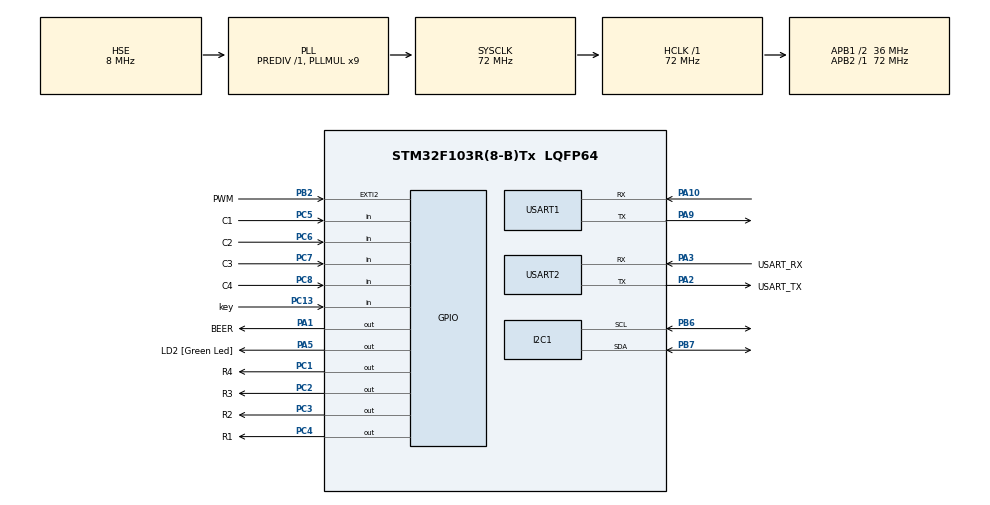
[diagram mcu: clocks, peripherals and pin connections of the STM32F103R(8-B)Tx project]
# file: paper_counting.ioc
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Mcu.Family=STM32F1
Mcu.Name=STM32F103R(8-B)Tx
Mcu.Package=LQFP64
NVIC.EXTI2_IRQn=true\:0\:0\:false\:false\:true\:true\:true
NVIC.PriorityGroup=NVIC_PRIORITYGROUP_4
NVIC.TIM1_BRK_IRQn=true\:0\:0\:false\:false\:true\:true\:true
NVIC.TIM1_CC_IRQn=true\:0\:0\:false\:false\:true\:true\:true
NVIC.TIM1_TRG_COM_IRQn=true\:0\:0\:false\:false\:true\:true\:true
NVIC.TIM1_UP_IRQn=true\:0\:0\:false\:false\:true\:true\:true
NVIC.TIM3_IRQn=true\:0\:0\:false\:false\:true\:true\:true
PA1.GPIO_Label=BEER
PA1.GPIO_PuPd=GPIO_PULLDOWN
PA1.Signal=GPIO_Output
PA10.Mode=Asynchronous
PA10.Signal=USART1_RX
PA13.GPIO_Label=TMS
PA13.Mode=Serial_Wire
PA13.Signal=SYS_JTMS-SWDIO
PA14.GPIO_Label=TCK
PA14.Mode=Serial_Wire
PA14.Signal=SYS_JTCK-SWCLK
PA2.GPIO_Label=USART_TX
PA2.GPIO_Mode=GPIO_MODE_AF_PP
PA2.GPIO_PuPd=GPIO_NOPULL
PA2.GPIO_Speed=GPIO_SPEED_FREQ_LOW
PA2.Mode=Asynchronous
PA2.Signal=USART2_TX
PA3.GPIO_Label=USART_RX
PA3.GPIO_Mode=GPIO_MODE_AF_PP
PA3.GPIO_PuPd=GPIO_NOPULL
PA3.GPIO_Speed=GPIO_SPEED_FREQ_LOW
PA3.Mode=Asynchronous
PA3.Signal=USART2_RX
PA5.GPIO_Label=LD2 [Green Led]
PA5.GPIO_ModeDefaultOutputPP=GPIO_MODE_OUTPUT_PP
PA5.GPIO_PuPd=GPIO_NOPULL
PA5.GPIO_Speed=GPIO_SPEED_FREQ_LOW
PA5.Signal=GPIO_Output
PA9.Mode=Asynchronous
PA9.Signal=USART1_TX
PB2.GPIO_Label=PWM
PB2.GPIO_ModeDefaultEXTI=GPIO_MODE_IT_RISING
PB2.GPIO_PuPd=GPIO_PULLDOWN
PB2.Signal=GPXTI2
PB3.GPIO_Label=SWO
PB3.Signal=SYS_JTDO-TRACESWO
PB6.Mode=I2C
PB6.Signal=I2C1_SCL
PB7.Mode=I2C
PB7.Signal=I2C1_SDA
PC1.GPIO_Label=R4
PC1.GPIO_PuPd=GPIO_PULLUP
PC1.Signal=GPIO_Output
PC13-TAMPER-RTC.GPIO_Label=key
PC13-TAMPER-RTC.GPIO_PuPd=GPIO_PULLUP
PC13-TAMPER-RTC.Signal=GPIO_Input
PC14-OSC32_IN.Signal=RCC_OSC32_IN
PC15-OSC32_OUT.Signal=RCC_OSC32_OUT
PC2.GPIO_Label=R3
PC2.GPIO_PuPd=GPIO_PULLUP
PC2.Signal=GPIO_Output
PC3.GPIO_Label=R2
PC3.GPIO_PuPd=GPIO_PULLUP
PC3.Signal=GPIO_Output
PC4.GPIO_Label=R1
PC4.GPIO_PuPd=GPIO_PULLUP
PC4.Signal=GPIO_Output
PC5.GPIO_Label=C1
PC5.GPIO_PuPd=GPIO_PULLDOWN
PC5.Signal=GPIO_Input
PC6.GPIO_Label=C2
PC6.GPIO_PuPd=GPIO_PULLDOWN
PC6.Signal=GPIO_Input
PC7.GPIO_Label=C3
PC7.GPIO_PuPd=GPIO_PULLDOWN
PC7.Signal=GPIO_Input
PC8.GPIO_Label=C4
PC8.GPIO_PuPd=GPIO_PULLDOWN
PC8.Signal=GPIO_Input
PD0-OSC_IN.Mode=HSE-External-Oscillator
PD0-OSC_IN.Signal=RCC_OSC_IN
PD1-OSC_OUT.Mode=HSE-External-Oscillator
PD1-OSC_OUT.Signal=RCC_OSC_OUT
ProjectManager.HeapSize=0x200
ProjectManager.StackSize=0x400
ProjectManager.TargetToolchain=MDK-ARM V5
RCC.AHBFreq_Value=72000000
RCC.APB1CLKDivider=RCC_HCLK_DIV2
RCC.APB1Freq_Value=36000000
RCC.APB1TimFreq_Value=72000000
RCC.APB2Freq_Value=72000000
RCC.APB2TimFreq_Value=72000000
RCC.HCLKFreq_Value=72000000
RCC.PLLMUL=RCC_PLL_MUL9
RCC.PLLSourceVirtual=RCC_PLLSOURCE_HSE
RCC.RTCClockSelection=RCC_RTCCLKSOURCE_LSE
RCC.SYSCLKFreq_VALUE=72000000
RCC.SYSCLKSource=RCC_SYSCLKSOURCE_PLLCLK
RCC.USBFreq_Value=72000000
TIM1.Period=1000
TIM1.Prescaler=71
TIM3.Period=10000
TIM3.Prescaler=71
USART1.VirtualMode=VM_ASYNC
USART2.VirtualMode=VM_ASYNC
VP_TIM1_VS_ClockSourceINT.Mode=Internal
VP_TIM3_VS_ClockSourceINT.Mode=Internal
board=NUCLEO-F103RB

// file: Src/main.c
/* USER CODE BEGIN Header */
/**
  ******************************************************************************
  * @file           : main.c
  * @brief          : Main program body
  ******************************************************************************
  * @attention
  *
  * <h2><center>&copy; Copyright (c) 2020 STMicroelectronics.
  * All rights reserved.</center></h2>
  *
  * This software component is licensed by ST under BSD 3-Clause license,
  * the "License"; You may not use this file except in compliance with the
  * License. You may obtain a copy of the License at:
  *                        opensource.org/licenses/BSD-3-Clause
  *
  ******************************************************************************
  */
/* USER CODE END Header */

#include "main.h"
#include "i2c.h"
#include "tim.h"
#include "usart.h"
#include "gpio.h"

/* USER CODE BEGIN Includes */
#include "stdio.h"
#include "OLED_I2C.h"
#include "keyboard.h"
#include "calibrate.h"
#include "show.h"
/* USER CODE END Includes */

void SystemClock_Config(void);
static void MX_NVIC_Init(void);
/* USER CODE BEGIN PFP */
volatile unsigned int count;
volatile unsigned int pwm_value;
int state = 0;
/* USER CODE END PFP */

/* USER CODE BEGIN 0 */
int fputc(int ch, FILE *f)
{
    uint8_t temp[1] = {ch};
    HAL_UART_Transmit(&huart1, temp, 1, 2);
}
/* USER CODE END 0 */

int main(void)
{

  /* MCU Configuration--------------------------------------------------------*/

  /* Reset of all peripherals, Initializes the Flash interface and the Systick. */
  HAL_Init();

  /* Configure the system clock */
  SystemClock_Config();

  /* Initialize all configured peripherals */
  MX_GPIO_Init();
  MX_USART2_UART_Init();
  MX_I2C1_Init();
	HAL_I2C_MspInit(&hi2c1);//手动添加

  MX_TIM1_Init();
  MX_TIM3_Init();
  MX_USART1_UART_Init();
  /* USER CODE BEGIN 2 */
  MX_NVIC_Init();

	OLED_Init();
  OLED_CLS();

  data_init();

  HAL_TIM_Base_Start_IT(&htim1);
  HAL_TIM_Base_Start_IT(&htim3);
  /* USER CODE END 2 */

  /* Infinite loop */
  while (1)
  {
		 OLED_CLS();
        switch(state) {
        case 0 :
            state = welcome();//按下左侧的四个功能按键选择state的值
            break;
        case 1 :
            state = calibrate();
            break;
        case 2 :
            state = measure();
            break;
        case 3 :
            state = change_value();
            break;
        case 4 :
            state = finlly();
            break;
        }
  }
}

void SystemClock_Config(void)
{
  RCC_OscInitTypeDef RCC_OscInitStruct = {0};
  RCC_ClkInitTypeDef RCC_ClkInitStruct = {0};

  /** Initializes the CPU, AHB and APB busses clocks
  */
  RCC_OscInitStruct.OscillatorType = RCC_OSCILLATORTYPE_HSE;
  RCC_OscInitStruct.HSEState = RCC_HSE_ON;
  RCC_OscInitStruct.HSEPredivValue = RCC_HSE_PREDIV_DIV1;
  RCC_OscInitStruct.HSIState = RCC_HSI_ON;
  RCC_OscInitStruct.PLL.PLLState = RCC_PLL_ON;
  RCC_OscInitStruct.PLL.PLLSource = RCC_PLLSOURCE_HSE;
  RCC_OscInitStruct.PLL.PLLMUL = RCC_PLL_MUL9;
  if (HAL_RCC_OscConfig(&RCC_OscInitStruct) != HAL_OK)
  {
    Error_Handler();
  }
  /** Initializes the CPU, AHB and APB busses clocks
  */
  RCC_ClkInitStruct.ClockType = RCC_CLOCKTYPE_HCLK|RCC_CLOCKTYPE_SYSCLK
                              |RCC_CLOCKTYPE_PCLK1|RCC_CLOCKTYPE_PCLK2;
  RCC_ClkInitStruct.SYSCLKSource = RCC_SYSCLKSOURCE_PLLCLK;
  RCC_ClkInitStruct.AHBCLKDivider = RCC_SYSCLK_DIV1;
  RCC_ClkInitStruct.APB1CLKDivider = RCC_HCLK_DIV2;
  RCC_ClkInitStruct.APB2CLKDivider = RCC_HCLK_DIV1;

  if (HAL_RCC_ClockConfig(&RCC_ClkInitStruct, FLASH_LATENCY_2) != HAL_OK)
  {
    Error_Handler();
  }
}

/**
  * @brief NVIC Configuration.
  * @retval None
  */
static void MX_NVIC_Init(void)
{
  /* EXTI0_IRQn interrupt configuration */
  HAL_NVIC_SetPriority(EXTI2_IRQn, 0, 0);
  HAL_NVIC_EnableIRQ(EXTI2_IRQn);
}

/* USER CODE BEGIN 4 */
void HAL_GPIO_EXTI_Callback(uint16_t GPIO_Pin) {
    if(GPIO_Pin == PWM_Pin) {
        count++;
    }
}

int last_count = 0;
int flag = 0;
uint32_t pwm_sum;
float pwm_avg;

void HAL_TIM_PeriodElapsedCallback(TIM_HandleTypeDef *htim) {
    if (htim->Instance == htim1.Instance) {
        if(last_count == count) {
            flag = 1;
            HAL_GPIO_WritePin(BEER_GPIO_Port, BEER_Pin, GPIO_PIN_SET);
        } else {
            flag = 0;
            HAL_GPIO_WritePin(BEER_GPIO_Port, BEER_Pin, GPIO_PIN_RESET);
        }
        last_count = count;
    }

    else if(htim-> Instance == htim3.Instance) {
        pwm_sum += count * 10;
        pwm_sum -= pwm_avg;
        pwm_avg = pwm_sum * 1.0 / 5;
        pwm_value = pwm_avg;
        count = 0;
    }
}
/* USER CODE END 4 */

void Error_Handler(void)
{
}

/************************ (C) COPYRIGHT STMicroelectronics *****END OF FILE****/
